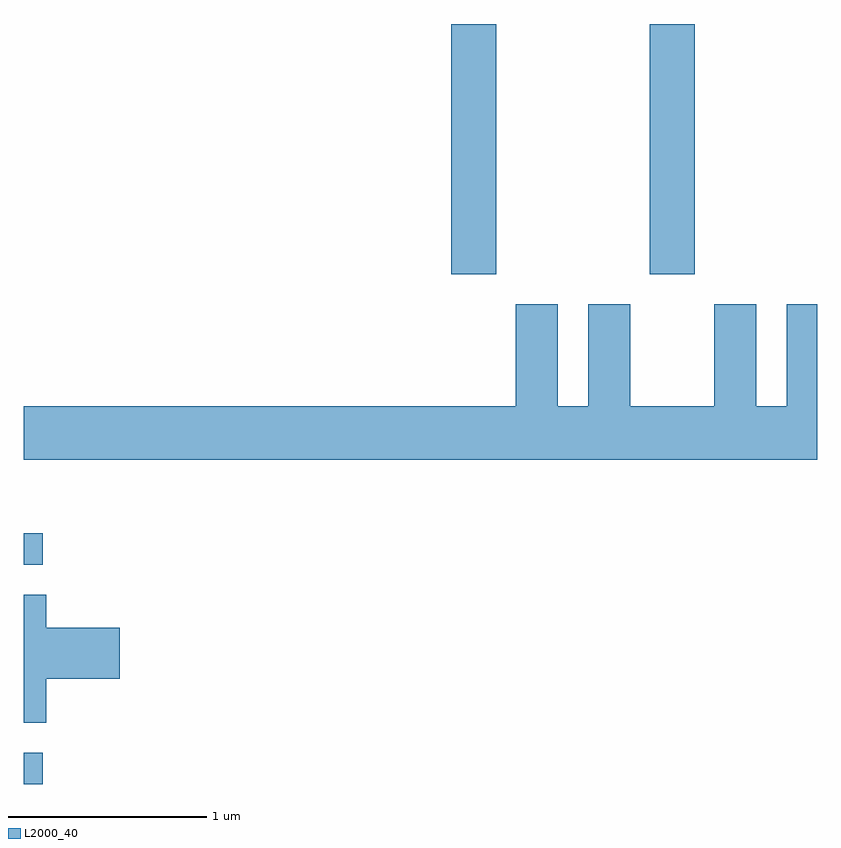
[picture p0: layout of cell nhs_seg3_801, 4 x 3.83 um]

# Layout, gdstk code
import gdstk
lib = gdstk.Library(unit=1e-6, precision=1e-09)
def R(c, l, rs):  # rectangles x0, y0, x1, y1
    for r in rs: c.add(gdstk.rectangle(r[:2], r[2:], *l))
def P(c, l, *ps):  # polygons
    for p in ps: c.add(gdstk.Polygon(p, *l))
L2000_40 = (2000, 40)

nhs_seg3_801 = lib.new_cell('nhs_seg3_801')
R(nhs_seg3_801, L2000_40, [(207.611,1222.061,207.708,1222.219), (207.611,1223.166,207.708,1223.324), (209.766,1224.631,209.994,1225.892), (210.766,1224.631,210.994,1225.892)])
P(nhs_seg3_801, L2000_40, [(211.611,1224.479),(211.456,1224.479),(211.456,1223.964),(211.304,1223.964),(211.304,1224.479),(211.091,1224.479),(211.091,1223.964),(210.669,1223.964),(210.669,1224.479),(210.456,1224.479),(210.456,1223.964),(210.304,1223.964),(210.304,1224.479),(210.091,1224.479),(210.091,1223.964),(207.611,1223.964),(207.611,1223.696),(211.611,1223.696)],
  [(207.724,1222.591),(208.094,1222.591),(208.094,1222.849),(207.724,1222.849),(207.724,1223.014),(207.611,1223.014),(207.611,1222.371),(207.724,1222.371)])

lib.write_gds('nhs_seg3_801.gds')
